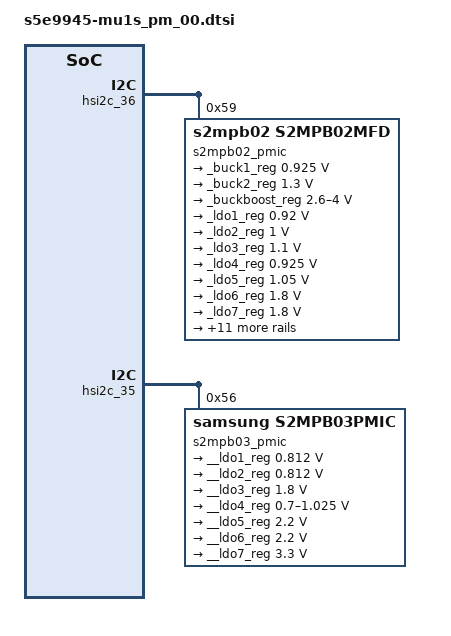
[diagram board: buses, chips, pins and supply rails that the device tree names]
/*
 * SAMSUNG S5E9945 Display, Camera PMIC device tree source
 *
 * Copyright (c) 2023 Samsung Electronics Co., Ltd.
 *             http://www.samsung.com
 *
 * SAMSUNG S5E9945 Display, Camera PMIC device nodes are listed in this file.
 * EXYNOS based board files can include this file and provide
 * values for board specfic bindings.
 *
 * This program is free software; you can redistribute it and/or modify
 * it under the terms of the GNU General Public License version 2 as
 * published by the Free Software Foundation.
 */

#include "../s5e9945-sec_pm_common.dtsi"

&hsi2c_36 {
	#address-cells = <1>;
	#size-cells = <0>;
	status = "okay";
	s2mpb02_pmic@59 {
		compatible = "s2mpb02,s2mpb02mfd";
		reg = <0x59>;

		s2mpb02,wakeup;

		regulators {
			_buck1_reg: s2mpb02-buck1 {
				regulator-name = "VDD_WIDECAM_0P92";
				regulator-min-microvolt = <925000>;
				regulator-max-microvolt = <925000>;
			};

			_buck2_reg: s2mpb02-buck2 {
				regulator-name = "S2MPB02_BUCK2";
				regulator-min-microvolt = <1300000>;
				regulator-max-microvolt = <1300000>;
			};

			_buckboost_reg: s2mpb02-bb {
				regulator-name = "S2MPB02_BB";
				regulator-min-microvolt = <2600000>;
				regulator-max-microvolt = <4000000>;
			};

			_ldo1_reg: s2mpb02-ldo1 {
				regulator-name = "VDD_WIDECAM_PHY_0P92";
				regulator-min-microvolt = <920000>;
				regulator-max-microvolt = <920000>;
			};

			_ldo2_reg: s2mpb02-ldo2 {
				regulator-name = "S2MPB02_LDO2";
				regulator-min-microvolt = <1000000>;
				regulator-max-microvolt = <1000000>;
			};

			_ldo3_reg: s2mpb02-ldo3 {
				regulator-name = "VDD_UWCAM_1P1";
				regulator-min-microvolt = <1100000>;
				regulator-max-microvolt = <1100000>;
			};

			_ldo4_reg: s2mpb02-ldo4 {
				regulator-name = "VDD_VTCAM_0P92";
				regulator-min-microvolt = <925000>;
				regulator-max-microvolt = <925000>;
			};

			_ldo5_reg: s2mpb02-ldo5 {
				regulator-name = "VDD_TELECAM_1P05";
				regulator-min-microvolt = <1050000>;
				regulator-max-microvolt = <1050000>;
			};

			_ldo6_reg: s2mpb02-ldo6 {
				regulator-name = "VDD_WIDECAM_IO_1P8";
				regulator-min-microvolt = <1800000>;
				regulator-max-microvolt = <1800000>;
			};

			_ldo7_reg: s2mpb02-ldo7 {
				regulator-name = "VDD_TELE_UW_IO_1P8";
				regulator-min-microvolt = <1800000>;
				regulator-max-microvolt = <1800000>;
			};

			_ldo8_reg: s2mpb02-ldo8 {
				regulator-name = "VDD_UWCAM_A1P8";
				regulator-min-microvolt = <1800000>;
				regulator-max-microvolt = <1800000>;
			};

			_ldo9_reg: s2mpb02-ldo9 {
				regulator-name = "VDD_VTCAM_IO_1P8";
				regulator-min-microvolt = <1800000>;
				regulator-max-microvolt = <1800000>;
			};

			_ldo10_reg: s2mpb02-ldo10 {
				regulator-name = "S2MPB02_LDO10";
				regulator-min-microvolt = <1800000>;
				regulator-max-microvolt = <1800000>;
			};

			_ldo11_reg: s2mpb02-ldo11 {
				regulator-name = "VDD_WIDECAM_OIS_3P2";
				regulator-min-microvolt = <3200000>;
				regulator-max-microvolt = <3200000>;
			};

			_ldo12_reg: s2mpb02-ldo12 {
				regulator-name = "VDD_UWCAM_A2P8";
				regulator-min-microvolt = <2800000>;
				regulator-max-microvolt = <2800000>;
			};

			_ldo13_reg: s2mpb02-ldo13 {
				regulator-name = "VDD_WIDECAM_AF_3P2";
				regulator-min-microvolt = <3200000>;
				regulator-max-microvolt = <3200000>;
			};

			_ldo14_reg: s2mpb02-ldo14 {
				regulator-name = "S2MPB02_LDO14";
				regulator-min-microvolt = <3300000>;
				regulator-max-microvolt = <3300000>;
			};

			_ldo15_reg: s2mpb02-ldo15 {
				regulator-name = "VDD_VTCAM_AF_2P8";
				regulator-min-microvolt = <2800000>;
				regulator-max-microvolt = <2800000>;
			};

			_ldo16_reg: s2mpb02-ldo16 {
				regulator-name = "VDD_TELECAM_A2P8";
				regulator-min-microvolt = <2800000>;
				regulator-max-microvolt = <2800000>;
				regulator-always-on;
				regulator-initial-mode = <1>;
			};

			_ldo17_reg: s2mpb02-ldo17 {
				regulator-name = "VDD_VTCAM_A2P2";
				regulator-min-microvolt = <2200000>;
				regulator-max-microvolt = <2200000>;
			};

			_ldo18_reg: s2mpb02-ldo18 {
				regulator-name = "VDD_WIDECAM_A2P2";
				regulator-min-microvolt = <2200000>;
				regulator-max-microvolt = <2200000>;
			};
		};
	};
};

&hsi2c_35 {
	#address-cells = <1>;
	#size-cells = <0>;
	status = "okay";
	s2mpb03_pmic@56 {
		compatible = "samsung,s2mpb03pmic";
		reg = <0x56>;

		s2mpb03,wakeup;

		regulators {
			__ldo1_reg: s2mpb03-ldo1 {
				regulator-name = "S2MPB03_LDO1";
				regulator-min-microvolt = <812500>;
				regulator-max-microvolt = <812500>;
			};

			__ldo2_reg: s2mpb03-ldo2 {
				regulator-name = "S2MPB03_LDO2";
				regulator-min-microvolt = <812500>;
				regulator-max-microvolt = <812500>;
			};

			__ldo3_reg: s2mpb03-ldo3 {
				regulator-name = "S2MPB03_LDO3";
				regulator-min-microvolt = <1800000>;
				regulator-max-microvolt = <1800000>;
			};

			__ldo4_reg: s2mpb03-ldo4 {
				regulator-name = "S2MPB03_LD04";
				regulator-min-microvolt = <700000>;
				regulator-max-microvolt = <1025000>;
			};

			__ldo5_reg: s2mpb03-ldo5 {
				regulator-name = "S2MPB03_LDO5";
				regulator-min-microvolt = <2200000>;
				regulator-max-microvolt = <2200000>;
			};

			__ldo6_reg: s2mpb03-ldo6 {
				regulator-name = "S2MPB03_LD06";
				regulator-min-microvolt = <2200000>;
				regulator-max-microvolt = <2200000>;
			};

			__ldo7_reg: s2mpb03-ldo7 {
				regulator-name = "S2MPB03_LDO7";
				regulator-min-microvolt = <3300000>;
				regulator-max-microvolt = <3300000>;
			};
		};
	};
};
